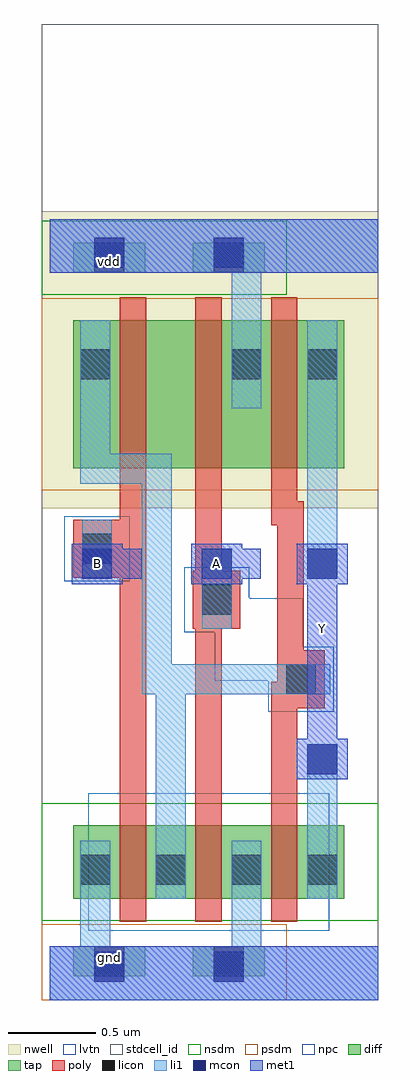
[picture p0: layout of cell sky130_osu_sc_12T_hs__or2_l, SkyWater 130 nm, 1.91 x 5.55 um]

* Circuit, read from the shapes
.subckt sky130_osu_sc_12T_hs__or2_l A B Y gnd vdd
XM1 n1 B gnd gnd sky130_fd_pr__nfet_01v8_lvt w=0.42 l=0.15
XM2 gnd A n1 gnd sky130_fd_pr__nfet_01v8_lvt w=0.42 l=0.15
XM3 Y n1 gnd gnd sky130_fd_pr__nfet_01v8_lvt w=0.42 l=0.15
XM4 n2 B n1 vdd sky130_fd_pr__pfet_01v8 w=0.84 l=0.15
XM5 vdd A n2 vdd sky130_fd_pr__pfet_01v8 w=0.84 l=0.15
XM6 Y n1 vdd vdd sky130_fd_pr__pfet_01v8 w=0.84 l=0.15
.ends

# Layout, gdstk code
import gdstk
lib = gdstk.Library(unit=1e-6, precision=1e-09)
def R(c, l, rs):  # rectangles x0, y0, x1, y1
    for r in rs: c.add(gdstk.rectangle(r[:2], r[2:], *l))
def A(c, l, x, y, w, h, nx, ny, dx, dy):  # array of equal rectangles
    R(c, l, [(x+i*dx, y+j*dy, x+i*dx+w, y+j*dy+h) for i in range(nx) for j in range(ny)])
nwell = (64, 20)
diff = (65, 20)
tap = (65, 44)
poly = (66, 20)
licon = (66, 44)
li1 = (67, 20)
mcon = (67, 44)
met1 = (68, 20)
stdcell_id = (81, 4)
nsdm = (93, 44)
psdm = (94, 20)
npc = (95, 20)
lvtn = (125, 44)

sky130_osu_sc_12t_hs__or = lib.new_cell('sky130_osu_sc_12T_hs__or2_l')
R(sky130_osu_sc_12t_hs__or, nwell, [(-0.045,2.795,1.87,4.485)])
R(sky130_osu_sc_12t_hs__or, diff, [(0.135,0.575,1.675,0.995), (0.135,3.025,1.675,3.865)])
R(sky130_osu_sc_12t_hs__or, tap, [(0.135,0.135,0.545,0.305), (0.815,0.135,1.225,0.305), (0.135,4.135,0.545,4.305), (0.815,4.135,1.225,4.305)])
R(sky130_osu_sc_12t_hs__or, poly, [(0.4,0.445,0.55,2.4), (0.83,0.445,0.98,2.11), (1.26,0.445,1.41,1.66), (1.26,1.66,1.565,1.81), (1.295,1.81,1.565,1.99), (1.295,1.99,1.445,2.7), (0.815,2.11,1.085,2.44), (0.135,2.4,0.55,2.73), (0.83,2.44,0.98,3.995), (1.26,2.7,1.445,2.835), (0.4,2.73,0.55,3.995), (1.26,2.835,1.41,3.995)])
A(sky130_osu_sc_12t_hs__or, licon, 0.175, 0.655, 0.17, 0.17, 4, 1, 0.43, 0)
R(sky130_osu_sc_12t_hs__or, licon, [(0.255,0.135,0.425,0.305), (0.935,0.135,1.105,0.305), (1.345,1.74,1.515,1.91), (0.865,2.19,1.035,2.36), (0.185,2.48,0.355,2.65), (0.175,3.53,0.345,3.7), (1.035,3.53,1.205,3.7), (1.465,3.53,1.635,3.7), (0.255,4.135,0.425,4.305), (0.935,4.135,1.105,4.305)])
R(sky130_osu_sc_12t_hs__or, li1, [(0,0,1.87,0.305), (0.175,0.305,0.345,0.905), (1.035,0.305,1.205,0.905), (0.605,0.575,0.775,1.74), (1.465,0.575,1.635,1.455), (0.525,1.74,1.595,1.91), (0.525,1.91,0.695,2.935), (0.865,2.11,1.035,2.565), (0.185,2.395,0.355,2.73), (1.465,2.395,1.635,3.865), (0.175,2.935,0.695,3.105), (0.175,3.105,0.345,3.865), (1.035,3.365,1.205,4.135), (0,4.135,1.87,4.44)])
R(sky130_osu_sc_12t_hs__or, mcon, [(0.255,0.105,0.425,0.275), (0.935,0.105,1.105,0.275), (1.465,1.285,1.635,1.455), (0.185,2.395,0.355,2.565), (0.865,2.395,1.035,2.565), (1.465,2.395,1.635,2.565), (0.255,4.165,0.425,4.335), (0.935,4.165,1.105,4.335)])
R(sky130_osu_sc_12t_hs__or, met1, [(0,0,1.87,0.305), (1.405,1.255,1.695,1.485), (1.465,1.485,1.635,2.365), (0.125,2.365,0.415,2.395), (0.805,2.365,1.095,2.395), (1.405,2.365,1.695,2.595), (0.125,2.395,0.525,2.565), (0.805,2.395,1.2,2.565), (0.125,2.565,0.415,2.595), (0.805,2.565,1.095,2.595), (0,4.135,1.87,4.44)])
R(sky130_osu_sc_12t_hs__or, stdcell_id, [(-0.045,0,1.87,5.55)])
R(sky130_osu_sc_12t_hs__or, nsdm, [(-0.045,0.45,1.87,1.12), (-0.045,4.01,1.35,4.43)])
R(sky130_osu_sc_12t_hs__or, psdm, [(-0.045,0,1.35,0.43), (-0.045,2.9,1.87,3.99)])
R(sky130_osu_sc_12t_hs__or, npc, [(1.245,1.64,1.615,1.815), (0.94,1.815,1.615,2.01), (0.94,2.01,1.44,2.09), (0.765,2.09,1.44,2.285), (0.765,2.285,1.135,2.46), (0.085,2.38,0.455,2.75)])
R(sky130_osu_sc_12t_hs__or, lvtn, [(0.22,0.395,1.59,1.175)])
sky130_osu_sc_12t_hs__or.add(gdstk.Label('gnd', (0.34,0.24), layer=68, texttype=16))
sky130_osu_sc_12t_hs__or.add(gdstk.Label('vdd', (0.34,4.2), layer=68, texttype=16))
sky130_osu_sc_12t_hs__or.add(gdstk.Label('Y', (1.555,2.11), layer=68, texttype=5))
sky130_osu_sc_12t_hs__or.add(gdstk.Label('A', (0.95,2.48), layer=68, texttype=5))
sky130_osu_sc_12t_hs__or.add(gdstk.Label('B', (0.27,2.48), layer=68, texttype=5))

lib.write_gds('sky130_osu_sc_12T_hs__or2_l.gds')
